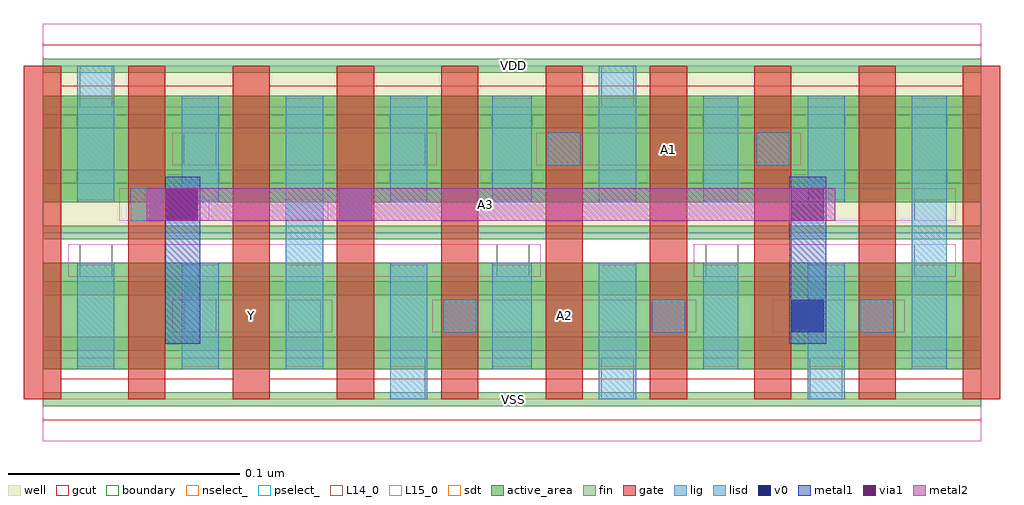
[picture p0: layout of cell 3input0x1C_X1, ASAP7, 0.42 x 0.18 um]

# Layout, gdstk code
import gdstk
lib = gdstk.Library(unit=1e-6, precision=1e-09)
def R(c, l, rs):  # rectangles x0, y0, x1, y1
    for r in rs: c.add(gdstk.rectangle(r[:2], r[2:], *l))
def A(c, l, x, y, w, h, nx, ny, dx, dy):  # array of equal rectangles
    R(c, l, [(x+i*dx, y+j*dy, x+i*dx+w, y+j*dy+h) for i in range(nx) for j in range(ny)])
def P(c, l, *ps):  # polygons
    for p in ps: c.add(gdstk.Polygon(p, *l))
well = (1, 0)
fin = (2, 0)
gate = (7, 0)
gcut = (10, 0)
active_area = (11, 0)
nselect_ = (12, 0)
pselect_ = (13, 0)
L14_0 = (14, 0)
L15_0 = (15, 0)
lig = (16, 0)
lisd = (17, 0)
v0 = (18, 0)
metal1 = (19, 0)
metal2 = (20, 0)
via1 = (21, 0)
sdt = (88, 0)
boundary = (100, 0)

c_3input0x1c_x1 = lib.new_cell('3input0x1C_X1')
R(c_3input0x1c_x1, well, [(0,0.072,0.405,0.144)])
A(c_3input0x1c_x1, fin, 0, -0.003, 0.405, 0.006, 1, 7, 0, 0.024)
A(c_3input0x1c_x1, gate, -0.008, 0, 0.016, 0.144, 10, 1, 0.045, 0)
P(c_3input0x1c_x1, gcut, [(0,-0.009),(0,0),(-0.008,0),(-0.008,0.135),(0.008,0.135),(0.008,0.009),(0.082,0.009),(0.082,0.135),(0.098,0.135),(0.098,0.009),(0.397,0.009),(0.397,0.135),(-0.008,0.135),(-0.008,0.144),(0,0.144),(0,0.153),(0.405,0.153),(0.405,0.144),(0.413,0.144),(0.413,0),(0.405,0),(0.405,-0.009)])
R(c_3input0x1c_x1, active_area, [(0,0.013,0.405,0.059), (0,0.085,0.405,0.131)])
R(c_3input0x1c_x1, nselect_, [(0,0,0.405,0.072)])
R(c_3input0x1c_x1, pselect_, [(0,0.072,0.405,0.144)])
A(c_3input0x1c_x1, L14_0, 0.173, 0.029, 0.014, 0.014, 3, 1, 0.09, 0)
A(c_3input0x1c_x1, L14_0, 0.196, 0.053, 0.014, 0.014, 3, 1, 0.09, 0)
R(c_3input0x1c_x1, L14_0, [(0.15,0,0.165,0.018), (0.241,0,0.255,0.018), (0.331,0,0.345,0.018), (0.061,0.029,0.075,0.043), (0.106,0.029,0.12,0.043), (0.016,0.053,0.03,0.067), (0.038,0.077,0.052,0.091), (0.128,0.077,0.142,0.091), (0.376,0.077,0.39,0.091), (0.061,0.101,0.075,0.115), (0.15,0.101,0.165,0.115), (0.218,0.101,0.232,0.115), (0.308,0.101,0.322,0.115), (0.016,0.126,0.03,0.144), (0.241,0.126,0.255,0.144)])
R(c_3input0x1c_x1, L15_0, [(0,-0.018,0.405,0.018), (0.056,0.029,0.125,0.043), (0.168,0.029,0.282,0.043), (0.315,0.029,0.372,0.043), (0.011,0.053,0.215,0.067), (0.281,0.053,0.394,0.067), (0.033,0.077,0.072,0.091), (0.123,0.077,0.394,0.091), (0.056,0.101,0.17,0.115), (0.213,0.101,0.327,0.115), (0,0.126,0.405,0.162)])
A(c_3input0x1c_x1, lig, 0.173, 0.029, 0.014, 0.014, 3, 1, 0.09, 0)
R(c_3input0x1c_x1, lig, [(0.038,0.077,0.052,0.091), (0.128,0.077,0.142,0.091), (0.218,0.101,0.232,0.115), (0.308,0.101,0.322,0.115)])
A(c_3input0x1c_x1, lisd, 0.15, 0, 0.016, 0.059, 3, 1, 0.09, 0)
R(c_3input0x1c_x1, lisd, [(0.015,0.013,0.031,0.059), (0.06,0.013,0.076,0.059), (0.105,0.013,0.121,0.131), (0.194,0.013,0.211,0.059), (0.285,0.013,0.3,0.059), (0.375,0.013,0.39,0.131), (0.015,0.085,0.031,0.144), (0.06,0.085,0.076,0.131), (0.15,0.085,0.166,0.131), (0.194,0.085,0.211,0.131), (0.24,0.085,0.256,0.144), (0.285,0.085,0.3,0.131), (0.33,0.085,0.346,0.131)])
R(c_3input0x1c_x1, v0, [(0.323,0.029,0.337,0.043), (0.053,0.077,0.067,0.091)])
R(c_3input0x1c_x1, metal1, [(0.053,0.024,0.068,0.096), (0.322,0.024,0.338,0.096)])
R(c_3input0x1c_x1, metal2, [(0.045,0.077,0.342,0.091)])
R(c_3input0x1c_x1, via1, [(0.053,0.077,0.067,0.091), (0.323,0.077,0.337,0.091)])
A(c_3input0x1c_x1, sdt, 0.015, 0.014, 0.016, 0.044, 4, 2, 0.045, 0.072)
R(c_3input0x1c_x1, sdt, [(0.194,0.014,0.211,0.058), (0.24,0.014,0.256,0.058), (0.285,0.014,0.3,0.058), (0.33,0.014,0.346,0.058), (0.375,0.014,0.39,0.058), (0.194,0.086,0.211,0.13), (0.24,0.086,0.256,0.13), (0.285,0.086,0.3,0.13), (0.33,0.086,0.346,0.13), (0.375,0.086,0.39,0.13)])
R(c_3input0x1c_x1, boundary, [(0,0,0.405,0.144)])
c_3input0x1c_x1.add(gdstk.Label('A2', (0.225,0.036), layer=15, texttype=251))
c_3input0x1c_x1.add(gdstk.Label('VSS', (0.203,0), layer=15, texttype=251))
c_3input0x1c_x1.add(gdstk.Label('VDD', (0.203,0.144), layer=15, texttype=251))
c_3input0x1c_x1.add(gdstk.Label('Y', (0.09,0.036), layer=15, texttype=251))
c_3input0x1c_x1.add(gdstk.Label('VSS', (0.203,0), layer=15, texttype=251))
c_3input0x1c_x1.add(gdstk.Label('VDD', (0.203,0.144), layer=15, texttype=251))
c_3input0x1c_x1.add(gdstk.Label('A1', (0.27,0.108), layer=15, texttype=251))
c_3input0x1c_x1.add(gdstk.Label('VSS', (0.203,0), layer=15, texttype=251))
c_3input0x1c_x1.add(gdstk.Label('VDD', (0.203,0.144), layer=15, texttype=251))
c_3input0x1c_x1.add(gdstk.Label('VSS', (0.203,0), layer=15, texttype=251))
c_3input0x1c_x1.add(gdstk.Label('VDD', (0.203,0.144), layer=15, texttype=251))
c_3input0x1c_x1.add(gdstk.Label('VSS', (0.203,0), layer=3, texttype=251))
c_3input0x1c_x1.add(gdstk.Label('VSS', (0.203,0), layer=3, texttype=251))
c_3input0x1c_x1.add(gdstk.Label('VSS', (0.203,0), layer=3, texttype=251))
c_3input0x1c_x1.add(gdstk.Label('VSS', (0.203,0), layer=3, texttype=251))
c_3input0x1c_x1.add(gdstk.Label('VDD', (0.203,0.144), layer=1, texttype=251))
c_3input0x1c_x1.add(gdstk.Label('VDD', (0.203,0.144), layer=1, texttype=251))
c_3input0x1c_x1.add(gdstk.Label('VDD', (0.203,0.144), layer=1, texttype=251))
c_3input0x1c_x1.add(gdstk.Label('VDD', (0.203,0.144), layer=1, texttype=251))
c_3input0x1c_x1.add(gdstk.Label('A3', (0.191,0.084), layer=20, texttype=251))

lib.write_gds('3input0x1C_X1.gds')
